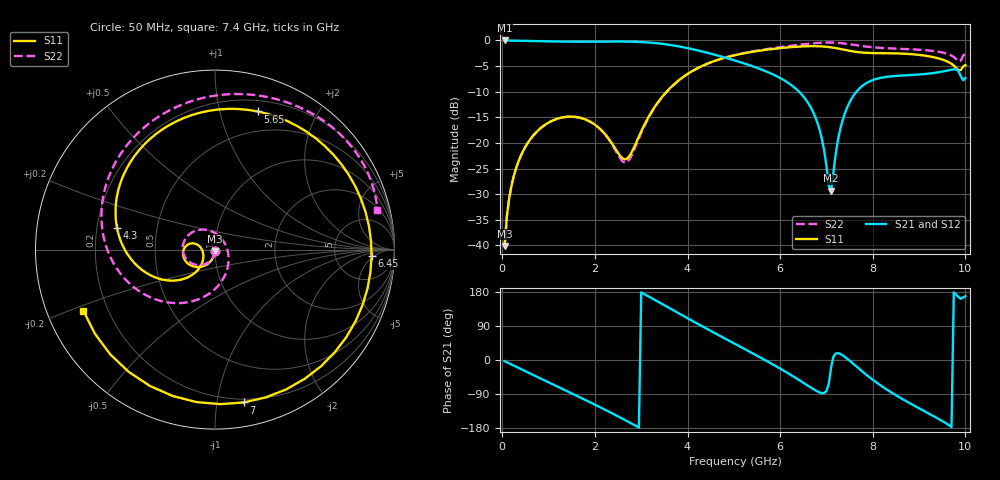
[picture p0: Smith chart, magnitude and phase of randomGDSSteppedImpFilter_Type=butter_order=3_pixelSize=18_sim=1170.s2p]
! freq	dB(S11)	phase(S11)	dB(S12)	phase(S12)
!  dB(S21)	phase(S21)	dB(S22)	phase(S22)
!S-par simulation data
#  GHz  S  DB  R 50
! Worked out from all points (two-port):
!   200 points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, 50 MHz to 10 GHz, reference 50 ohm
!   highest |S21| = 0.00 dB at 50 MHz (marker M1); lowest = -29.3 dB at 7.1 GHz (marker M2)
!   |S21| within 3 dB of the highest: start of sweep to 4.674 GHz
!   lowest |S11| = -40.1 dB at 50 MHz (marker M3), VSWR 1.02, Z = 50 - j0.983 ohm
!   |S11| at or under -10 dB: start of sweep to 3.548 GHz
!   |S22| runs from -40.2 to -0.4 dB; largest |S21 - S12| = 0
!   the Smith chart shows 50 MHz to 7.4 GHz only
!   S11 on the Smith chart (normalised r, x): 50 MHz: 1.00, -0.02; 4.3 GHz: 0.29, +0.10; 5.65 GHz: 0.30, +1.31; 6.45 GHz: 13, -4; 7 GHz: 0.17, -1.19; 7.4 GHz: 0.11, -0.22
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0.05  -40.14 -91.9  -0.00 -3.0  -0.00 -3.0  -40.16 -92.4
0.2  -28.29 -100.9  -0.03 -12.0  -0.03 -12.0  -28.30 -102.6
0.55  -20.00 -120.8  -0.09 -32.7  -0.09 -32.7  -20.01 -125.5
1.15  -15.40 -152.8  -0.21 -67.8  -0.21 -67.8  -15.41 -164.0
1.75  -15.28 178.2  -0.25 -102.9  -0.25 -102.9  -15.29 155.0
2.65  -23.21 -166.6  -0.22 -158.5  -0.22 -158.5  -23.88 29.1
3.4  -11.59 -139.9  -0.61 151.2  -0.61 151.2  -11.70 -100.7
4.3  -5.04 167.5  -2.12 90.0  -2.12 90.0  -5.06 -169.3
5.05  -2.82 117.4  -4.00 40.8  -4.00 40.8  -2.79 142.9
5.65  -1.88 72.9  -5.87 1.4  -5.87 1.4  -1.77 108.3
6.05  -1.46 38.6  -7.59 -26.3  -7.59 -26.3  -1.25 86.4
6.45  -1.18 -2.4  -10.41 -56.1  -10.41 -56.1  -0.81 64.9
6.7  -1.12 -33.7  -13.76 -75.6  -13.76 -75.6  -0.57 51.5
7  -1.24 -79.4  -24.55 -81.9  -24.55 -81.9  -0.41 35.0
7.1  -1.35 -96.9  -29.32 -19.6  -29.32 -19.6  -0.41 29.5
7.4  -1.85 -155.2  -14.16 8.0  -14.16 8.0  -0.62 13.7
7.6  -2.18 164.6  -10.55 -12.4  -10.55 -12.4  -0.88 4.3
7.85  -2.42 118.0  -8.39 -38.0  -8.39 -38.0  -1.20 -5.8
8.35  -2.50 45.6  -7.05 -81.7  -7.05 -81.7  -1.54 -23.7
8.75  -2.63 2.3  -6.79 -110.7  -6.79 -110.7  -1.69 -37.7
9.25  -3.16 -43.3  -6.43 -144.0  -6.43 -144.0  -2.00 -55.4
10  -4.81 -100.8  -7.33 168.6  -7.33 168.6  -2.48 -71.4
